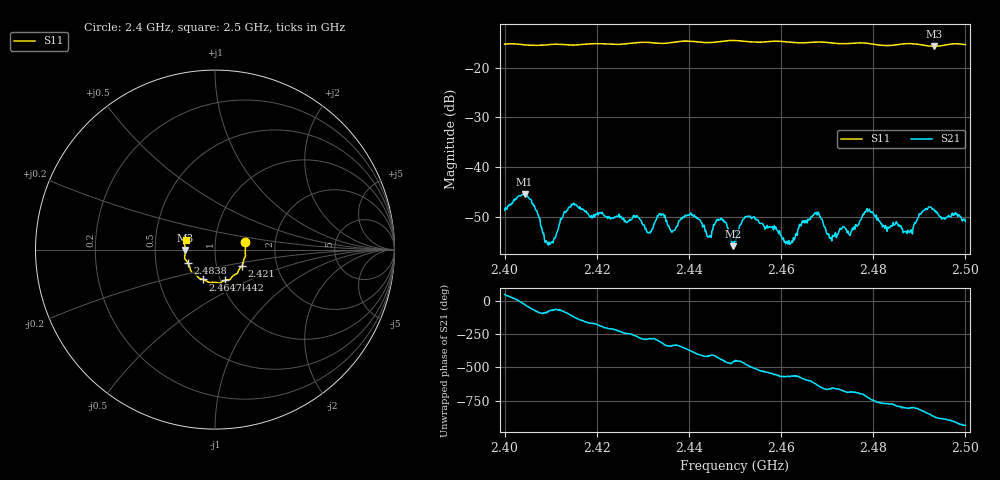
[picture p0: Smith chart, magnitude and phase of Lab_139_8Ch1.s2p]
# Hz S RI R 50
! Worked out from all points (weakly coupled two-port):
!   601 points, 2.4 GHz to 2.5 GHz, reference 50 ohm
!   highest |S21| = -45.43 dB at 2.4043 GHz (marker M1); lowest = -56.0 dB at 2.4497 GHz (marker M2)
!   lowest |S11| = -15.6 dB at 2.4932 GHz (marker M3), VSWR 1.40, Z = 35.8 - j0.114 ohm
!   |S11| at or under -10 dB: start of sweep to end of sweep
!   S12 and S22 are empty: the file has one direction only
!   S11 on the Smith chart (normalised r, x): 2.4 GHz: 1.40, +0.12; 2.421 GHz: 1.33, -0.24; 2.4442 GHz: 1.05, -0.37; 2.4647 GHz: 0.83, -0.28; 2.4838 GHz: 0.73, -0.11; 2.5 GHz: 0.72, +0.08
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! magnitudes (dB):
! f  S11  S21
! 2.4 GHz  -15.2  -48.8
! 2.4043 GHz  -15.3  -45.4
! 2.4093 GHz  -15.3  -55.5
! 2.4167 GHz  -15.3  -48.6
! 2.421 GHz  -15.1  -49.4
! 2.4313 GHz  -14.9  -53.2
! 2.4333 GHz  -15.0  -49.9
! 2.4408 GHz  -14.6  -49.7
! 2.4442 GHz  -14.9  -54.1
! 2.447 GHz  -14.7  -50.3
! 2.4497 GHz  -14.5  -56.0
! 2.45 GHz  -14.5  -54.7
! 2.4527 GHz  -14.7  -50.0
! 2.4615 GHz  -14.8  -55.5
! 2.4647 GHz  -14.9  -50.9
! 2.4667 GHz  -14.8  -50.0
! 2.471 GHz  -15.0  -54.9
! 2.4787 GHz  -15.0  -48.4
! 2.4833 GHz  -15.5  -52.4
! 2.4838 GHz  -15.5  -51.8
! 2.4932 GHz  -15.6  -48.5
! 2.5 GHz  -15.3  -51.0
